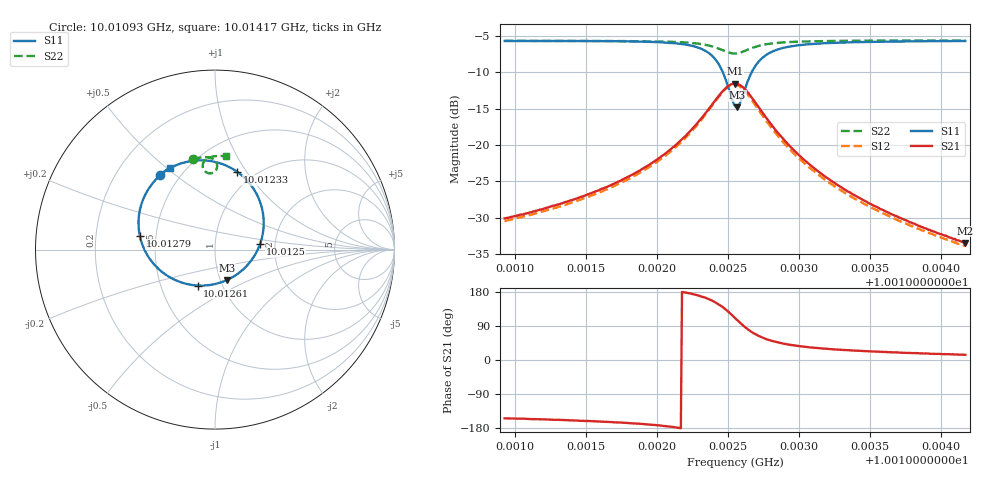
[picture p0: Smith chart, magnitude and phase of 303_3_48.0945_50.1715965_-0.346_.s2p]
#  HZ  S  RI  R  50.00
! Rohde & Schwarz Vector Network Analyzer
! Rohde-Schwarz,ZNB20-2Port,1311601062101988,3.16
! Created: UTC 12/23/2023, 4:05:00 AM
! freq[Hz]  re:S11  im:S11  re:S21  im:S21  re:S12  im:S12  re:S22  im:S22
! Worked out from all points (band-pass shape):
!   401 points, 10.01093 GHz to 10.01417 GHz, reference 50 ohm
!   highest |S21| = -11.55 dB at 10.01255 GHz (marker M1); lowest = -33.5 dB at 10.01417 GHz (marker M2)
!   |S21| within 3 dB of the highest: 10.01239 GHz to 10.01271 GHz (323.8 kHz wide, 0.00323 % of centre)
!   lowest |S11| = -14.8 dB at 10.01257 GHz (marker M3), VSWR 1.45, Z = 53.7 - j18.8 ohm
!   |S11| at or under -10 dB: 10.01247 GHz to 10.01267 GHz (203 kHz wide, 0.00203 % of centre)
!   |S22| runs from -7.4 to -5.6 dB; largest |S21 - S12| = 0.012
!   S11 on the Smith chart (normalised r, x): 10.01093 GHz: 0.39, +0.44; 10.01233 GHz: 0.83, +0.91; 10.0125 GHz: 1.67, +0.11; 10.01261 GHz: 0.77, -0.32; 10.01279 GHz: 0.41, +0.07; 10.01417 GHz: 0.41, +0.51
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1.0010927e10  -0.3074 0.4184  -0.0281 -0.0137  -0.026 -0.0149  -0.1235 0.5051
1.0011471e10  -0.2484 0.4557  -0.0415 -0.0148  -0.0391 -0.0165  -0.0851 0.5127
1.0011756e10  -0.1982 0.4773  -0.0558 -0.0147  -0.0528 -0.0169  -0.0624 0.5148
1.0012015e10  -0.1192 0.4954  -0.0806 -0.0106  -0.0771 -0.0147  -0.0379 0.5136
1.0012186e10  -0.0228 0.4931  -0.1115 0.00189  -0.1079 -0.00469  -0.0173 0.5079
1.0012332e10  0.124 0.4332  -0.1553 0.0394  -0.1538 0.03  0.00389 0.4908
1.0012381e10  0.1898 0.3727  -0.1718 0.0686  -0.1718 0.0581  0.00987 0.4795
1.0012421e10  0.24 0.2927  -0.1809 0.1036  -0.1834 0.0917  0.0122 0.4662
1.001247e10  0.2714 0.1471  -0.1771 0.159  -0.1811 0.1493  0.00758 0.4464
1.0012502e10  0.2511 0.0304  -0.1564 0.2001  -0.162 0.1916  -0.00236 0.4341
1.0012551e10  0.1283 -0.1338  -0.0937 0.2475  -0.1001 0.2402  -0.0272 0.4247
1.0012567e10  0.0663 -0.1697  -0.068 0.2542  -0.0739 0.2472  -0.0362 0.4256
1.0012608e10  -0.0963 -0.2001  -0.0053 0.249  -0.00985 0.242  -0.0554 0.4355
1.0012649e10  -0.2355 -0.1629  0.0433 0.2217  0.0367 0.2145  -0.0659 0.4511
1.0012689e10  -0.3301 -0.0923  0.0706 0.1869  0.0631 0.1808  -0.0687 0.4665
1.001273e10  -0.3849 -0.0167  0.0834 0.1544  0.0756 0.1495  -0.0666 0.4793
1.0012787e10  -0.4186 0.0756  0.0881 0.1175  0.0798 0.115  -0.0602 0.4923
1.0012917e10  -0.4199 0.2139  0.0774 0.0683  0.071 0.0678  -0.043 0.508
1.0013095e10  -0.3868 0.3096  0.0597 0.0384  0.055 0.0391  -0.0225 0.5164
1.0013339e10  -0.3448 0.3731  0.0435 0.0213  0.0405 0.0223  0.000193 0.5205
1.0013639e10  -0.3046 0.4145  0.032 0.012  0.0297 0.0129  0.0242 0.5218
1.0014175e10  -0.25 0.4551  0.0206 0.00505  0.0193 0.00593  0.0628 0.5199
